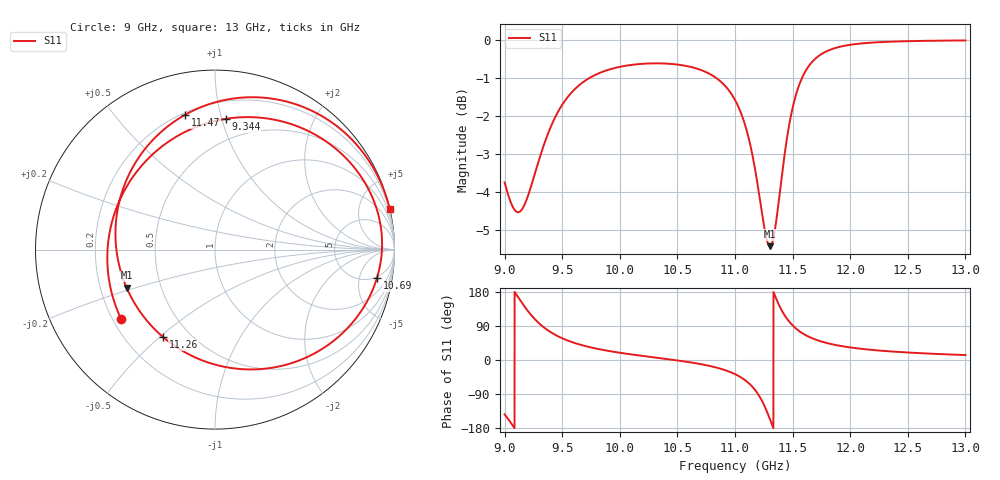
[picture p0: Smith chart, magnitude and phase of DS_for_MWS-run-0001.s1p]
! TOUCHSTONE file generated by CST DESIGN STUDIO
! Date and time: Tue Feb  4 14:21:36 2025
! Project name: C:\Work\MatlabApps\UnitCellOptimizationMatlab\CST\unitcell.cst
! Tree item: Tasks\Sweep1\SPara1\S-Parameters
! Header version: 2024
! Port assignment regex: !\s*Touchstone port\s*([0-9]+)\s*=\s*(CST MWS port|CST DES external port|CST DES block port)\s*(.+)\s* \(\"(.*)\"\)(\s*mode\s*([0-9]+))?.*
! Touchstone port assignment:
! Touchstone port 1 = CST DES external port 1 ("")
# GHz S MA R 50
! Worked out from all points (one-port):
!   4001 points, 9 GHz to 13 GHz, reference 50 ohm
!   lowest |S11| = -5.4 dB at 11.3 GHz (marker M1), VSWR 3.31, Z = 15.7 - j9.32 ohm
!   |S11| at or under -10 dB: nowhere
!   S11 on the Smith chart (normalised r, x): 9 GHz: 0.23, -0.31; 9.344 GHz: 0.33, +1.03; 10.69 GHz: 5, -9; 11.26 GHz: 0.36, -0.51; 11.47 GHz: 0.21, +0.78; 13 GHz: 0.02, +8.75
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9  0.6505 -143.5
9.073  0.6031 -174.1
9.139  0.5965 156.0
9.24  0.6504 115.3
9.344  0.7309 85.3
9.5  0.8227 57.3
9.71  0.8871 36.0
10  0.9228 19.1
10.5  0.9292 -1.1
10.687  0.916 -10.0
10.869  0.8845 -22.5
11  0.8348 -37.3
11.085  0.7761 -52.6
11.161  0.6942 -74.1
11.211  0.6252 -95.2
11.255  0.5668 -120.6
11.304  0.5362 -156.7
11.339  0.5549 175.6
11.374  0.6043 150.3
11.421  0.6905 122.8
11.467  0.7691 102.6
11.5  0.8149 91.3
11.594  0.9003 68.9
11.697  0.9458 54.1
11.827  0.9719 42.6
12  0.9865 33.2
12.5  0.9973 19.8
13  0.9995 13.0
